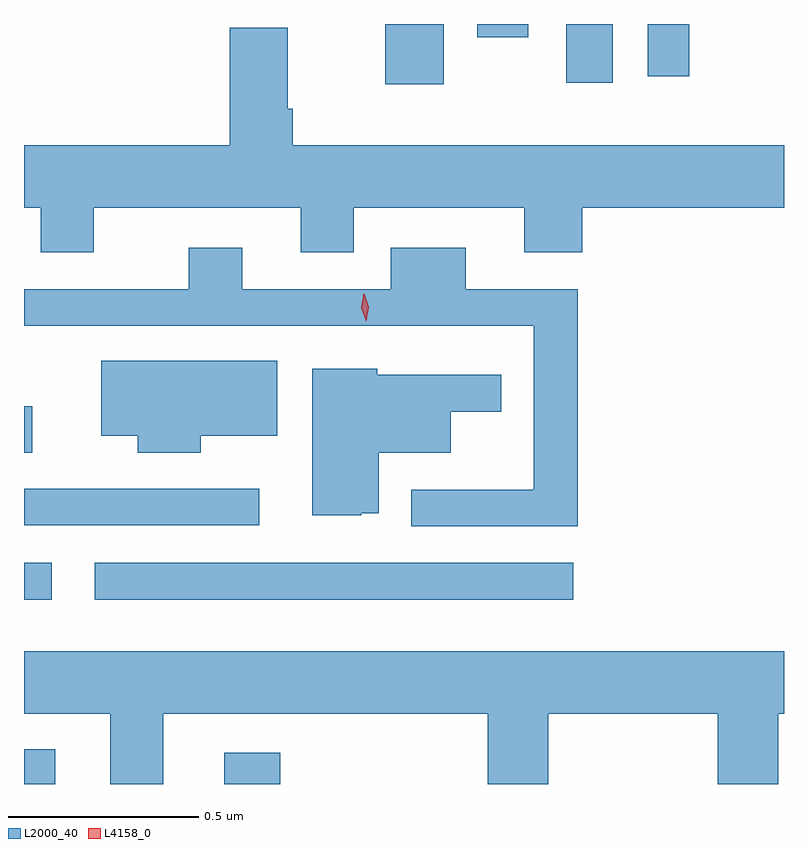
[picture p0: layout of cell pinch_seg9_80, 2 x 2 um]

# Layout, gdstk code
import gdstk
lib = gdstk.Library(unit=1e-6, precision=1e-09)
def R(c, l, rs):  # rectangles x0, y0, x1, y1
    for r in rs: c.add(gdstk.rectangle(r[:2], r[2:], *l))
def P(c, l, *ps):  # polygons
    for p in ps: c.add(gdstk.Polygon(p, *l))
L2000_40 = (2000, 40)
L4158_0 = (4158, 0)

pinch_seg9_80 = lib.new_cell('pinch_seg9_80')
R(pinch_seg9_80, L2000_40, [(1037.061,1188.243,1037.143,1188.334), (1037.588,1188.243,1037.735,1188.325), (1037.061,1188.728,1037.134,1188.825), (1037.247,1188.728,1038.507,1188.825), (1037.061,1188.924,1037.68,1189.02), (1037.061,1189.115,1037.083,1189.237), (1038.011,1190.085,1038.166,1190.243), (1038.488,1190.088,1038.61,1190.243), (1038.702,1190.106,1038.811,1190.243), (1038.254,1190.208,1038.388,1190.243)])
P(pinch_seg9_80, L2000_40, [(1037.245,1189.76),(1037.789,1189.76),(1037.789,1189.643),(1037.929,1189.643),(1037.929,1189.76),(1038.377,1189.76),(1038.377,1189.643),(1038.53,1189.643),(1038.53,1189.76),(1039.061,1189.76),(1039.061,1189.924),(1037.768,1189.924),(1037.768,1190.02),(1037.755,1190.02),(1037.755,1190.233),(1037.603,1190.233),(1037.603,1189.924),(1037.061,1189.924),(1037.061,1189.76),(1037.105,1189.76),(1037.105,1189.643),(1037.245,1189.643)],
  [(1038.518,1189.545),(1038.223,1189.545),(1038.223,1189.654),(1038.026,1189.654),(1038.026,1189.545),(1037.635,1189.545),(1037.635,1189.654),(1037.495,1189.654),(1037.495,1189.545),(1037.061,1189.545),(1037.061,1189.449),(1038.402,1189.449),(1038.402,1189.019),(1038.401,1189.019),(1038.401,1189.017),(1038.08,1189.017),(1038.08,1188.921),(1038.518,1188.921)],
  [(1037.526,1189.16),(1037.728,1189.16),(1037.728,1189.357),(1037.264,1189.357),(1037.264,1189.16),(1037.36,1189.16),(1037.36,1189.115),(1037.526,1189.115)],
  [(1037.949,1188.956),(1037.995,1188.956),(1037.995,1189.115),(1038.184,1189.115),(1038.184,1189.223),(1038.317,1189.223),(1038.317,1189.32),(1037.991,1189.32),(1037.991,1189.336),(1037.819,1189.336),(1037.819,1188.95),(1037.949,1188.95)],
  [(1037.428,1188.428),(1038.281,1188.428),(1038.281,1188.243),(1038.441,1188.243),(1038.441,1188.428),(1038.886,1188.428),(1038.886,1188.243),(1039.046,1188.243),(1039.046,1188.428),(1039.061,1188.428),(1039.061,1188.592),(1037.061,1188.592),(1037.061,1188.428),(1037.288,1188.428),(1037.288,1188.243),(1037.428,1188.243)])
P(pinch_seg9_80, L4158_0, [(1037.961,1189.461),(1037.961,1189.461),(1037.948,1189.496),(1037.955,1189.533),(1037.956,1189.533),(1037.956,1189.533),(1037.968,1189.497),(1037.961,1189.461)])

lib.write_gds('pinch_seg9_80.gds')
